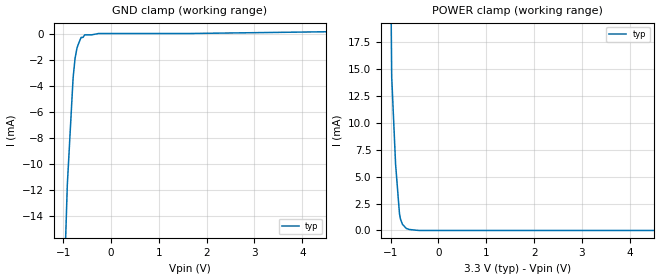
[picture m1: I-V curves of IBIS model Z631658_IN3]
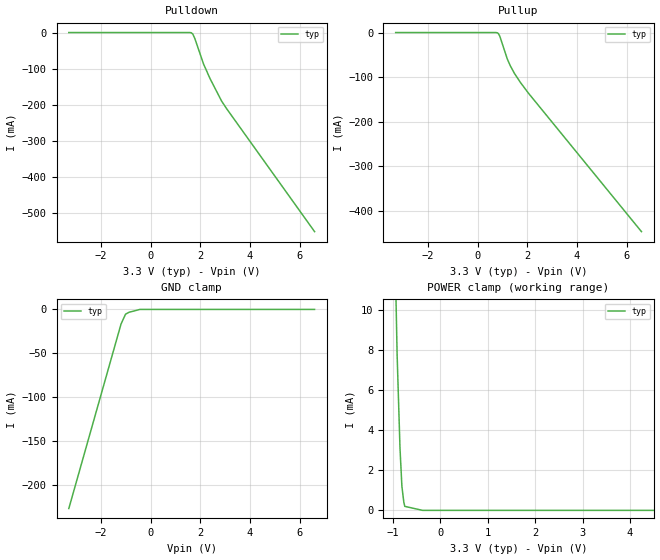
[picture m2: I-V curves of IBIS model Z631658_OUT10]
| YOU ARE ONLY AUTHORIZED TO USE THIS SOFTWARE
| ACCORDING TO LICENSOR'S LICENSE RESTRICTIONS.
[IBIS Ver] 3.1
[File Name] mc100lve164fa_33.ibs
[File Rev] 1
[Source] derived from mc100lve210fn_33.ibs and from
|   mc100ep195fa_33v_ecl.ibs Measured and created
|   by ICX Technology
[Date] 5/1/2002
[Copyright]
| (C) COPYRIGHT 1993-2000
| MENTOR GRAPHICS CORPORATION
| ICX STANDARD LIBRARY, ICX PROJECT MODELING,
| ICX CUSTOM MODELING, ICX VENDOR MODEL
| ALL RIGHTS RESERVED.
| THE FOLLOWING ARE TRADEMARKS OR SERVICE MARKS OF
| MENTOR GRAPHICS CORPORATION:ICX (R), ICX STANDARD
| LIBRARY(R), ICX PROJECT MODELING(R), ICX CUSTOM
| MODELING(R), qualityIBIS(TM), MODELVIEWER(TM),
| AND MODELEDITOR(TM)
| ALL COPIES OF SOFTWARE, INCLUDING BUT NOT LIMITED TO
| ANY MODIFICATIONS, ENHANCEMENTS OR DERIVATIVE WORKS,
| MUST CONTAIN ALL MENTOR GRAPHICS CORPORATION'S
| NOTICES AND LEGENDS, INCLUDING THOSE EMBEDDED IN
| SOFTWARE AND THOSE AFFIXED TO SOFTWARE MEDIUM
| AND CONTAINER, AS RECEIVED FROM MENTOR GRAPHICS
| CORPORATION.
|  ZAP Model Builder 2.8
[Component] MC100LVE164FA_33
[Manufacturer] OnSemiconductor
[Package]
| variable   typ   min   max
R_pkg  .083ohms NA NA
L_pkg  4.299nH NA NA
C_pkg  1.045pF NA NA
[Pin] signal_name  model_name  R_pin  L_pin C_pin
1 NC NC .066 4.127n .978p
2 A4 Z631658_IN3 .068 4.288n 1.027p
3 A3 Z631658_IN3 .068 4.288n 1.027p
4 A2 Z631658_IN3 .068 4.288n 1.027p
5 A1 Z631658_IN3 .068 4.288n 1.027p
6 A0 Z631658_IN3 .068 4.288n 1.027p
7 VEE POWER .065 3.973n .928p
8 NC NC .066 4.127n .978p
9 SEL0 Z631658_IN3 .068 4.288n 1.027p
10 SLE1 Z631658_IN3 .068 4.288n 1.027p
11 SEL2 Z631658_IN3 .068 4.288n 1.027p
12 _Q Z631658_OUT10 .068 4.288n 1.027p
13 Q Z631658_OUT10 .068 4.288n 1.027p
14 VCC POWER .065 3.973n .928p
15 SEL3 Z631658_IN3 .068 4.288n 1.027p
16 NC NC .066 4.127n .978p
17 NC NC .066 4.127n .978p
18 VCC POWER .065 3.973n .928p
19 A15 Z631658_IN3 .068 4.288n 1.027p
20 A14 Z631658_IN3 .068 4.288n 1.027p
21 A13 Z631658_IN3 .068 4.288n 1.027p
22 A12 Z631658_IN3 .068 4.288n 1.027p
23 A11 Z631658_IN3 .068 4.288n 1.027p
24 NC NC .066 4.127n .978p
25 NC NC .066 4.127n .978p
26 A10 Z631658_IN3 .068 4.288n 1.027p
27 A9 Z631658_IN3 .068 4.288n 1.027p
28 A8 Z631658_IN3 .068 4.288n 1.027p
29 A7 Z631658_IN3 .068 4.288n 1.027p
30 A6 Z631658_IN3 .068 4.288n 1.027p
31 A5 Z631658_IN3 .068 4.288n 1.027p
32 NC NC .066 4.127n .978p
[Diff Pin] inv_pin vdiff tdelay_typ tdelay_min tdelay_max
13 12 NA .05ns NA NA
| Models and submodels in the file (2): Z631658_IN3 (Input_ECL), Z631658_OUT10 (Output_ECL)
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| (C) COPYRIGHT 1993-2000
| MENTOR GRAPHICS CORPORATION
| ICX STANDARD LIBRARY, ICX PROJECT MODELING,
| ICX CUSTOM MODELING, ICX VENDOR MODEL
| ALL RIGHTS RESERVED.
| THE FOLLOWING ARE TRADEMARKS OR SERVICE MARKS OF
| MENTOR GRAPHICS CORPORATION:ICX (R), ICX STANDARD
| LIBRARY(R), ICX PROJECT MODELING(R), ICX CUSTOM
| MODELING(R), qualityIBIS(TM), MODELVIEWER(TM),
| AND MODELEDITOR(TM)
| ALL COPIES OF SOFTWARE, INCLUDING BUT NOT LIMITED TO
| ANY MODIFICATIONS, ENHANCEMENTS OR DERIVATIVE WORKS,
| MUST CONTAIN ALL MENTOR GRAPHICS CORPORATION'S
| NOTICES AND LEGENDS, INCLUDING THOSE EMBEDDED IN
| SOFTWARE AND THOSE AFFIXED TO SOFTWARE MEDIUM
| AND CONTAINER, AS RECEIVED FROM MENTOR GRAPHICS
| CORPORATION.
| Model Application Version 1.89 2/18/99.
[Model] Z631658_IN3
Model_type Input_ECL
Vinl = 1.825V
Vinh = 2.135V
C_comp 3.000pF NA NA
| variable typ   min   max
[Voltage Range] 3.300V NA NA
[GND Clamp Reference] 0.000V NA NA
[POWER Clamp Reference] 3.300V NA NA
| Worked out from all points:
|   GND clamp passes 1 mA (typ) near -0.70 V on its own axis
|   POWER clamp passes 1 mA (typ) near -0.79 V on its own axis
[GND Clamp]
-3.3V     -370.8mA   NA         NA
-1.034V   -25.9mA    NA         NA
-912mV    -11.6mA    NA         NA
-791mV    -3.4mA     NA         NA
-750mV    -1.9mA     NA         NA
-709mV    -1.1mA     NA         NA
-669mV    -700uA     NA         NA
-623.3mV  -300uA     NA         NA
-585.2mV  -300uA     NA         NA
-547.2mV  -100uA     NA         NA
-258.5mV  0A         NA         NA
6.6V      233uA      NA         NA
[POWER Clamp]
-3.3V     954.5mA    NA         NA
-1.098V   73.77mA    NA         NA
-977mV    14.28mA    NA         NA
-896mV    6.18mA     NA         NA
-815mV    1.584mA    NA         NA
-795mV    1.085mA    NA         NA
-754mV    586.7uA    NA         NA
-673mV    190.5uA    NA         NA
-612mV    93.33uA    NA         NA
-408mV    0A         NA         NA
6.6V      0A         NA         NA
| (C) COPYRIGHT 1993-2000
| MENTOR GRAPHICS CORPORATION
| ICX STANDARD LIBRARY, ICX PROJECT MODELING,
| ICX CUSTOM MODELING, ICX VENDOR MODEL
| ALL RIGHTS RESERVED.
| THE FOLLOWING ARE TRADEMARKS OR SERVICE MARKS OF
| MENTOR GRAPHICS CORPORATION:ICX (R), ICX STANDARD
| LIBRARY(R), ICX PROJECT MODELING(R), ICX CUSTOM
| MODELING(R), qualityIBIS(TM), MODELVIEWER(TM),
| AND MODELEDITOR(TM)
| ALL COPIES OF SOFTWARE, INCLUDING BUT NOT LIMITED TO
| ANY MODIFICATIONS, ENHANCEMENTS OR DERIVATIVE WORKS,
| MUST CONTAIN ALL MENTOR GRAPHICS CORPORATION'S
| NOTICES AND LEGENDS, INCLUDING THOSE EMBEDDED IN
| SOFTWARE AND THOSE AFFIXED TO SOFTWARE MEDIUM
| AND CONTAINER, AS RECEIVED FROM MENTOR GRAPHICS
| CORPORATION.
| Model Application Version 1.89 2/18/99.
[Model] Z631658_OUT10
Model_type Output_ECL
Vref=1.300V
Rref=50.00ohms
Cref=0.000F
Vmeas=1.977V
C_comp 3.000pF NA NA
| variable typ   min   max
[Voltage Range] 3.300V NA NA
[POWER Clamp Reference] 3.300V NA NA
[Pullup Reference] 3.300V NA NA
[Pulldown Reference] 3.300V NA NA
[GND Clamp Reference] 0.000V NA NA
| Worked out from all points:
|   POWER clamp passes 1 mA (typ) near -0.80 V on its own axis
[GND Clamp]
-3.3V     -226.9mA   NA         NA
-1.196V   -16.63mA   NA         NA
-1.014V   -5.414mA   NA         NA
-872mV    -3.259mA   NA         NA
-436mV    0A         NA         NA
6.6V      0A         NA         NA
[Pulldown]
-3.3V     0A         NA         NA
1.557V    0A         NA         NA
1.618V    -400uA     NA         NA
1.638V    -800uA     NA         NA
1.699V    -4.7mA     NA         NA
1.78V     -17.3mA    NA         NA
2.124V    -86.6mA    NA         NA
2.388V    -127.4mA   NA         NA
2.854V    -189.7mA   NA         NA
3.057V    -210.8mA   NA         NA
6.6V      -551.2mA   NA         NA
[Pullup]
-3.3V     0A         NA         NA
711mV     0A         NA         NA
751mV     -100uA     NA         NA
792mV     -600uA     NA         NA
832mV     -2mA       NA         NA
893mV     -8.1mA     NA         NA
1.197V    -59.6mA    NA         NA
1.318V    -74.7mA    NA         NA
1.481V    -91.5mA    NA         NA
1.724V    -112mA     NA         NA
2.048V    -136.1mA   NA         NA
6.6V      -446.8mA   NA         NA
[POWER Clamp]
-3.3V     521.8mA    NA         NA
-1.033V   22.2mA     NA         NA
-911mV    7.8mA      NA         NA
-850mV    3.1mA      NA         NA
-810mV    1.2mA      NA         NA
-769mV    400uA      NA         NA
-749mV    200uA      NA         NA
-374.5mV  0A         NA         NA
6.6V      0A         NA         NA
[Ramp]
| variable typ min max
dV/dt_r 397.0m/212.4p NA NA
dV/dt_f 397.0m/201.1p NA NA
R_load = 50.00Ohms
